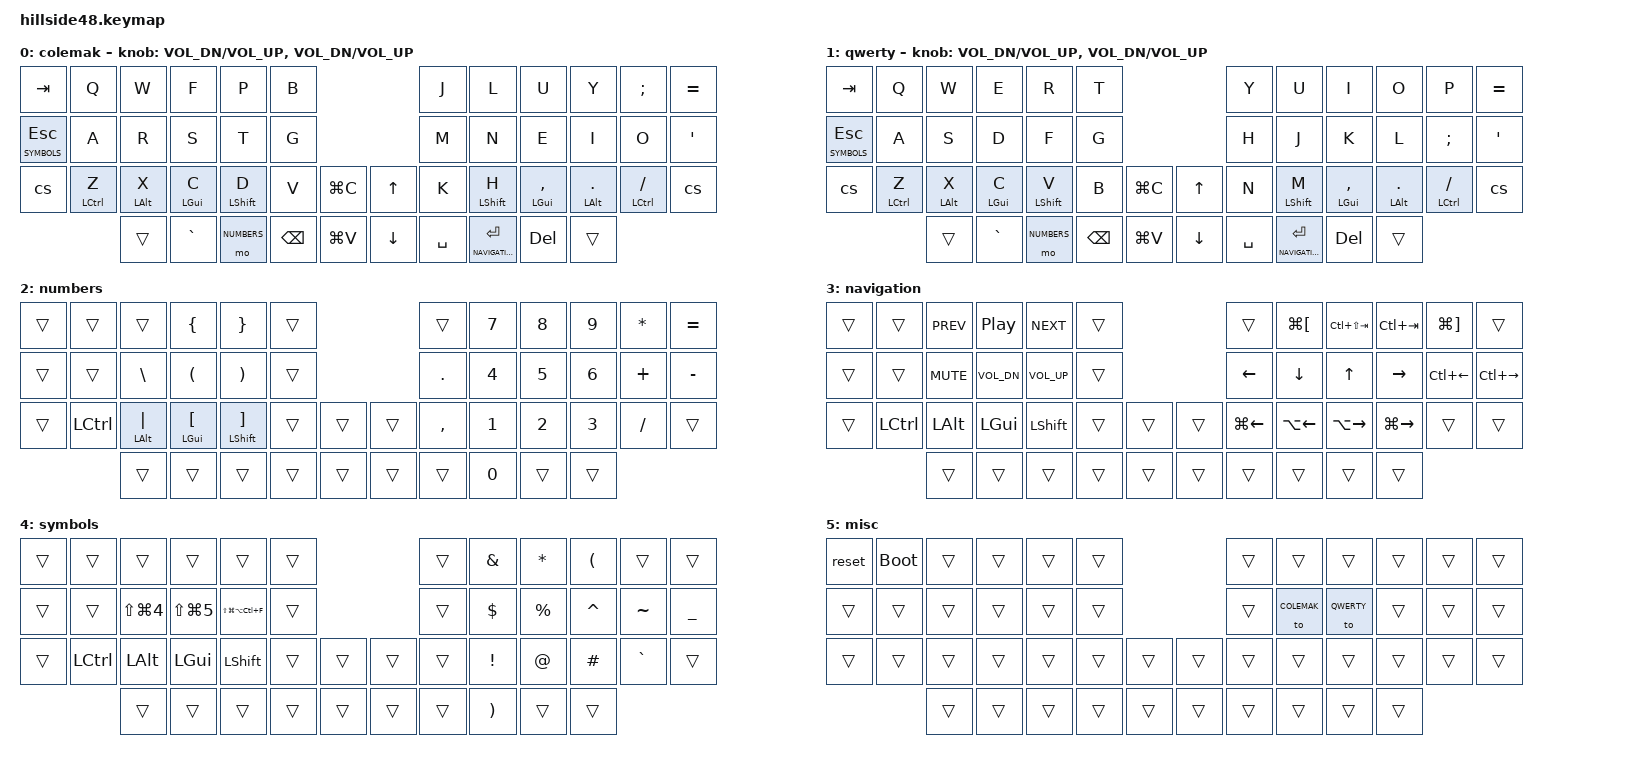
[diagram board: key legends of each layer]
/*
 * Copyright (c) 2022 The ZMK Contributors
 *
 * SPDX-License-Identifier: MIT
 */

#include <behaviors.dtsi>
#include <dt-bindings/zmk/keys.h>
#include <dt-bindings/zmk/bt.h>

#define COLEMAK    0
#define QWERTY     1
#define NUMBERS    2
#define NAVIGATION 3
#define SYMBOLS    4
#define MISC       5

#define BBack LG(LBKT)
#define BForward LG(RBKT)
#define TabLeft LC(LS(TAB))
#define TabRight LC(TAB)
#define DLeft LC(LEFT)
#define DRight LC(RIGHT)
#define WordRight LA(RIGHT)
#define WordLeft LA(LEFT)
#define LineRight LG(RIGHT)
#define LineLeft LG(LEFT)
#define SS1 LS(LG(N4))
#define SS2 LS(LG(N5))
#define Monitors LS(LG(LA(LC(F))))

#define Copy LG(C)
#define Paste LG(V)

&left_encoder {
    resolution = <3>;
};
&right_encoder {
    resolution = <3>;
};

&lt {
    tapping-term-ms = <105>;
};
&sk {
    release-after-ms = <200>;
    quick-release;
};

/ {
        behaviors {
            hrm: homerow_mods {
                compatible = "zmk,behavior-hold-tap";
                label = "HOMEROW_MODS";
                #binding-cells = <2>;
                tapping-term-ms = <190>;
                quick-tap-ms = <0>;
                flavor = "tap-preferred";
                bindings = <&kp>, <&kp>;
            };
            cs: caps_shift {
                compatible = "zmk,behavior-tap-dance";
                label = "caps_shift";
                #binding-cells = <0>;
                tapping-term-ms = <200>;
                bindings = <&sk LSHFT>, <&caps_word>;
            };
        };

        conditional_layers {
            compatible = "zmk,conditional-layers";
            tri_layer {
                if-layers = <NUMBERS NAVIGATION>;
                then-layer = <MISC>;
            };
        };

        keymap {
                compatible = "zmk,keymap";

                colemak {
                        bindings = <
    &kp TAB         &kp Q        &kp W       &kp F       &kp P        &kp B                       &kp J     &kp L              &kp U           &kp Y         &kp SEMI        &kp EQUAL
    &lt SYMBOLS ESC &kp A        &kp R       &kp S       &kp T        &kp G                       &kp M     &kp N              &kp E           &kp I         &kp O           &kp SQT
    &cs             &hrm LCTRL Z &hrm LALT X &hrm LGUI C &hrm LSHFT D &kp V &kp Copy     &kp UP   &kp K     &hrm LSHFT H       &hrm LGUI COMMA &hrm LALT DOT &hrm LCTRL FSLH &cs
                                      &trans &kp GRAVE &mo NUMBERS &kp BSPC &kp Paste    &kp DOWN &kp SPACE &lt NAVIGATION RET &kp DEL &trans
                        >;
                        sensor-bindings = <&inc_dec_kp C_VOL_DN C_VOL_UP &inc_dec_kp C_VOL_DN C_VOL_UP>;
                };

                qwerty {
                        bindings = <
   &kp TAB         &kp Q        &kp W       &kp E       &kp R        &kp T                       &kp Y &kp U        &kp I           &kp O         &kp P           &kp EQUAL
   &lt SYMBOLS ESC &kp A        &kp S       &kp D       &kp F        &kp G                       &kp H &kp J        &kp K           &kp L         &kp SEMI        &kp SQT
   &cs             &hrm LCTRL Z &hrm LALT X &hrm LGUI C &hrm LSHFT V &kp B &kp Copy     &kp UP   &kp N &hrm LSHFT M &hrm LGUI COMMA &hrm LALT DOT &hrm LCTRL FSLH &cs
                                     &trans &kp GRAVE &mo NUMBERS &kp BSPC &kp Paste    &kp DOWN &kp SPACE &lt NAVIGATION RET &kp DEL &trans
                        >;
                        sensor-bindings = <&inc_dec_kp C_VOL_DN C_VOL_UP &inc_dec_kp C_VOL_DN C_VOL_UP>;
                };

                numbers {
                        bindings = <
   &trans &trans    &trans         &kp LBRC       &kp RBRC        &trans                  &trans    &kp N7 &kp N8 &kp N9 &kp STAR &kp EQUAL
   &trans &trans    &kp BSLH       &kp LPAR       &kp RPAR        &trans                  &kp DOT   &kp N4 &kp N5 &kp N6 &kp PLUS &kp MINUS
   &trans &kp LCTRL &hrm LALT PIPE &hrm LGUI LBKT &hrm LSHFT RBKT &trans &trans    &trans &kp COMMA &kp N1 &kp N2 &kp N3 &kp FSLH &trans
                                             &trans &trans &trans &trans &trans    &trans &trans &kp N0 &trans &trans
                        >;
                };

                navigation {
                        bindings = <
   &trans &trans    &kp C_PREV &kp C_PP     &kp C_NEXT   &trans                  &trans       &kp BBack    &kp TabLeft   &kp TabRight  &kp BForward &trans
   &trans &trans    &kp K_MUTE &kp C_VOL_DN &kp C_VOL_UP &trans                  &kp LEFT     &kp DOWN     &kp UP        &kp RIGHT     &kp DLeft    &kp DRight
   &trans &kp LCTRL &kp LALT   &kp LGUI     &kp LSHFT    &trans &trans    &trans &kp LineLeft &kp WordLeft &kp WordRight &kp LineRight &trans       &trans
                                    &trans &trans &trans &trans &trans    &trans &trans &trans &trans &trans
                        >;
                };

                symbols {
                        bindings = <
   &trans &trans    &trans   &trans   &trans       &trans                  &trans &kp AMPS &kp STAR  &kp LPAR  &trans    &trans
   &trans &trans    &kp SS1  &kp SS2  &kp Monitors &trans                  &trans &kp DLLR &kp PRCNT &kp CARET &kp TILDE &kp UNDER
   &trans &kp LCTRL &kp LALT &kp LGUI &kp LSHFT    &trans &trans    &trans &trans &kp EXCL &kp AT    &kp HASH  &kp GRAVE &trans
                              &trans &trans &trans &trans &trans    &trans &trans &kp RPAR &trans &trans
                        >;
                };

                misc {
                        bindings = <
   &reset &bootloader &trans &trans &trans &trans                  &trans &trans      &trans     &trans &trans &trans
   &trans &trans      &trans &trans &trans &trans                  &trans &to COLEMAK &to QWERTY &trans &trans &trans
   &trans &trans      &trans &trans &trans &trans &trans    &trans &trans &trans      &trans     &trans &trans &trans
                      &trans &trans &trans &trans &trans    &trans &trans &trans &trans &trans
                        >;
                };
        };
};
